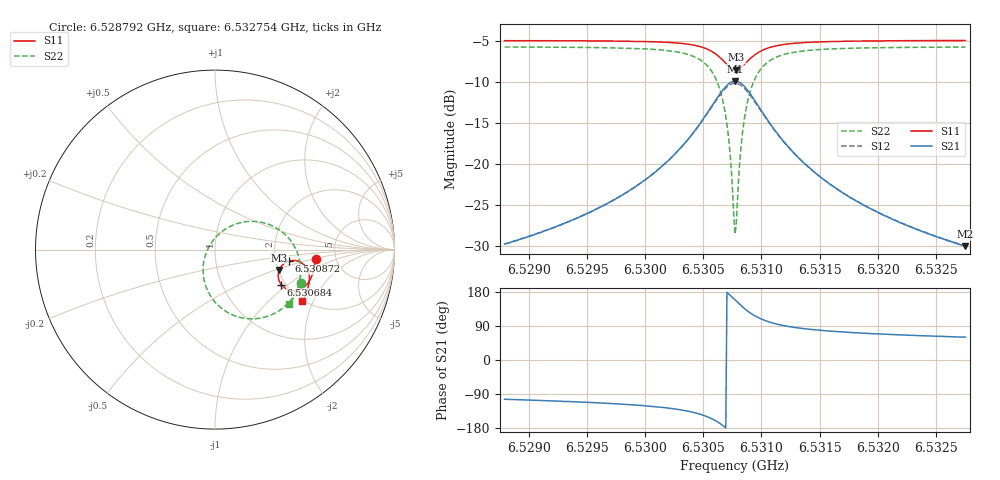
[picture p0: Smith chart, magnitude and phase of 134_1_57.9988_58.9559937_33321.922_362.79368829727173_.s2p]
#  HZ  S  RI  R  50.00
! Rohde & Schwarz Vector Network Analyzer
! Rohde-Schwarz,ZNB20-2Port,1311601062101988,3.16
! Created: UTC 3/21/2024, 12:56:14 AM
! freq[Hz]  re:S11  im:S11  re:S21  im:S21  re:S12  im:S12  re:S22  im:S22
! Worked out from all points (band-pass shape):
!   401 points, 6.528792 GHz to 6.532754 GHz, reference 50 ohm
!   highest |S21| = -9.91 dB at 6.530773 GHz (marker M1); lowest = -30.0 dB at 6.532754 GHz (marker M2)
!   |S21| within 3 dB of the highest: 6.530576 GHz to 6.530972 GHz (396.2 kHz wide, 0.00607 % of centre)
!   lowest |S11| = -8.5 dB at 6.530783 GHz (marker M3), VSWR 2.20, Z = 101 - j26.7 ohm
!   |S11| at or under -10 dB: nowhere
!   |S22| runs from -28.6 to -5.8 dB; largest |S21 - S12| = 0.013
!   S11 on the Smith chart (normalised r, x): 6.528792 GHz: 3.49, -0.54; 6.530684 GHz: 1.89, -0.89; 6.530872 GHz: 2.36, -0.37; 6.532754 GHz: 1.97, -1.66
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6.5287924e9  0.5606 -0.0529  -0.00763 -0.0315  -0.00828 -0.0314  0.4813 -0.1835
6.5294559e9  0.5513 -0.1091  -0.0173 -0.0448  -0.0184 -0.0445  0.4492 -0.2463
6.5298223e9  0.5405 -0.1442  -0.0297 -0.0586  -0.0313 -0.0579  0.4159 -0.2901
6.5301194e9  0.5241 -0.1775  -0.0521 -0.0772  -0.0543 -0.0757  0.3645 -0.3357
6.5303472e9  0.497 -0.208  -0.0933 -0.0976  -0.0963 -0.0943  0.2806 -0.3755
6.5305155e9  0.4522 -0.228  -0.164 -0.1049  -0.1666 -0.0977  0.1498 -0.3803
6.5306145e9  0.4057 -0.223  -0.2365 -0.0777  -0.2357 -0.0674  0.0286 -0.3206
6.5306839e9  0.3689 -0.1948  -0.2902 -0.0173  -0.2841 -0.00646  -0.05 -0.2078
6.5307235e9  0.3548 -0.1659  -0.3071 0.0378  -0.2975 0.0466  -0.0666 -0.1135
6.5307631e9  0.3532 -0.131  -0.3024 0.1008  -0.2908 0.1057  -0.0463 -0.0113
6.530773e9  0.3551 -0.1222  -0.2975 0.1163  -0.2855 0.1201  -0.035 0.013
6.5307829e9  0.358 -0.1136  -0.291 0.1312  -0.2788 0.1339  -0.0214 0.036
6.5307928e9  0.3616 -0.1055  -0.2828 0.1453  -0.271 0.147  -0.00558 0.0577
6.5308324e9  0.3837 -0.0788  -0.2399 0.1906  -0.23 0.1889  0.0733 0.1234
6.530872e9  0.4115 -0.0642  -0.1893 0.2149  -0.1819 0.2115  0.1614 0.1539
6.5309414e9  0.4564 -0.0629  -0.1107 0.2174  -0.1071 0.2142  0.2932 0.1427
6.5310404e9  0.496 -0.0846  -0.0432 0.1857  -0.0414 0.1838  0.4023 0.0724
6.5311889e9  0.5194 -0.1211  -0.00227 0.1374  -0.000967 0.1367  0.4621 -0.0262
6.5314365e9  0.5261 -0.1648  0.0153 0.0899  0.0165 0.0896  0.4773 -0.1263
6.5317336e9  0.5212 -0.2011  0.0184 0.0617  0.0196 0.0613  0.4674 -0.193
6.5321e9  0.5104 -0.2359  0.0179 0.0432  0.0186 0.043  0.4491 -0.2445
6.5327536e9  0.4868 -0.2866  0.0156 0.0273  0.0162 0.0271  0.415 -0.3046
